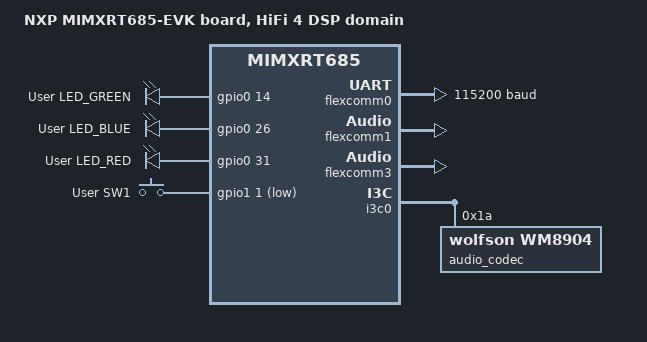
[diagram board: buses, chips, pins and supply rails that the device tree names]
/*
 * Copyright (c) 2024 NXP
 * SPDX-License-Identifier: Apache-2.0
 */

/dts-v1/;

#include <nxp/nxp_rt685_hifi4.dtsi>
#include <zephyr/dt-bindings/gpio/gpio.h>

#include "mimxrt685_evk-pinctrl.dtsi"

/ {
	model = "NXP MIMXRT685-EVK board, HiFi 4 DSP domain";
	compatible = "nxp,mimxrt685";

	chosen {
		zephyr,console = &flexcomm0;
		zephyr,shell-uart = &flexcomm0;
	};

	aliases {
		led0 = &green_led;
		led1 = &blue_led;
		led2 = &red_led;
		sw0 = &user_button_1;
		mbox = &mbox;
	};

	leds: leds {
		compatible = "gpio-leds";

		green_led: led_1 {
			gpios = <&gpio0 14 0>;
			label = "User LED_GREEN";
		};
		blue_led: led_2 {
			gpios = <&gpio0 26 0>;
			label = "User LED_BLUE";
		};
		red_led: led_3 {
			gpios = <&gpio0 31 0>;
			label = "User LED_RED";
		};
	};

	gpio_keys {
		compatible = "gpio-keys";

		user_button_1: button_0 {
			label = "User SW1";
			gpios = <&gpio1 1 GPIO_ACTIVE_LOW>;
			zephyr,code = <INPUT_KEY_0>;
		};
	};
};

&pinctrl {
	pinmux_flexcomm0_usart: pinmux_flexcomm0_usart {
		group0 {
			pinmux = <FC0_RXD_SDA_MOSI_DATA_PIO0_2>;
			input-enable;
			slew-rate = "normal";
			drive-strength = "normal";
		};
		group1 {
			pinmux = <FC0_TXD_SCL_MISO_WS_PIO0_1>;
			slew-rate = "normal";
			drive-strength = "normal";
		};
	};

	pinmux_flexcomm1_i2s: pinmux_flexcomm1_i2s {
		group0 {
			pinmux = <FC1_RXD_SDA_MOSI_DATA_PIO0_9>;
			input-enable;
			slew-rate = "normal";
			drive-strength = "high";
		};
	};

	pinmux_flexcomm3_i2s: pinmux_flexcomm3_i2s {
		group0 {
			pinmux = <FC3_RXD_SDA_MOSI_DATA_PIO0_23>,
				<FC3_TXD_SCL_MISO_WS_PIO0_22>,
				<FC3_SCK_PIO0_21>;
			input-enable;
			slew-rate = "normal";
			drive-strength = "high";
		};
	};

	pinmux_codec: pinmux_codec {
		group0 {
			pinmux = <MCLK_PIO1_10>;
			slew-rate = "normal";
			drive-strength = "high";
		};
	};

	pinmux_i3c: pinmux_i3c {
		group0 {
			pinmux = <I3C0_SCL_PIO2_29>,
				<I3C0_SDA_PIO2_30>;
			input-enable;
			slew-rate = "slow";
			drive-strength = "high";
		};

		group1 {
			pinmux = <I3C0_PUR_PIO2_31>;
			slew-rate = "normal";
			drive-strength = "normal";
		};
	};
};

&gpio0 {
	status = "okay";
};

&dma1 {
	status = "okay";
};

&flexcomm0 {
	compatible = "nxp,lpc-usart";
	pinctrl-0 = <&pinmux_flexcomm0_usart>;
	pinctrl-names = "default";
	current-speed = <115200>;
	status = "okay";
};

&mbox {
	status = "okay";
};
/* I2S receive channel */
i2s0: &flexcomm1 {
	status = "okay";
	compatible = "nxp,lpc-i2s";
	#address-cells = <1>;
	#size-cells = <0>;
	dmas = <&dma1 2>;
	dma-names = "rx";
	pinctrl-0 = <&pinmux_flexcomm1_i2s>;
	pinctrl-names = "default";
};

/* I2S transmit channel */
i2s1: &flexcomm3 {
	status = "okay";
	compatible = "nxp,lpc-i2s";
	#address-cells = <1>;
	#size-cells = <0>;
	dmas = <&dma1 7>;
	dma-names = "tx";
	pinctrl-0 = <&pinmux_flexcomm3_i2s>;
	pinctrl-names = "default";
};

&i3c0 {
	status = "okay";
	pinctrl-0 = <&pinmux_i3c>;
	pinctrl-names = "default";

	audio_codec: wm8904@1a {
		pinctrl-0 = <&pinmux_codec>;
		pinctrl-names = "default";
		compatible = "wolfson,wm8904";
		reg = <0x1a 0 0>;
		clock-source = "MCLK";

		clocks = <&clkctl0 MCUX_AUDIO_MCLK>;
		clock-names = "mclk";
	};
};
